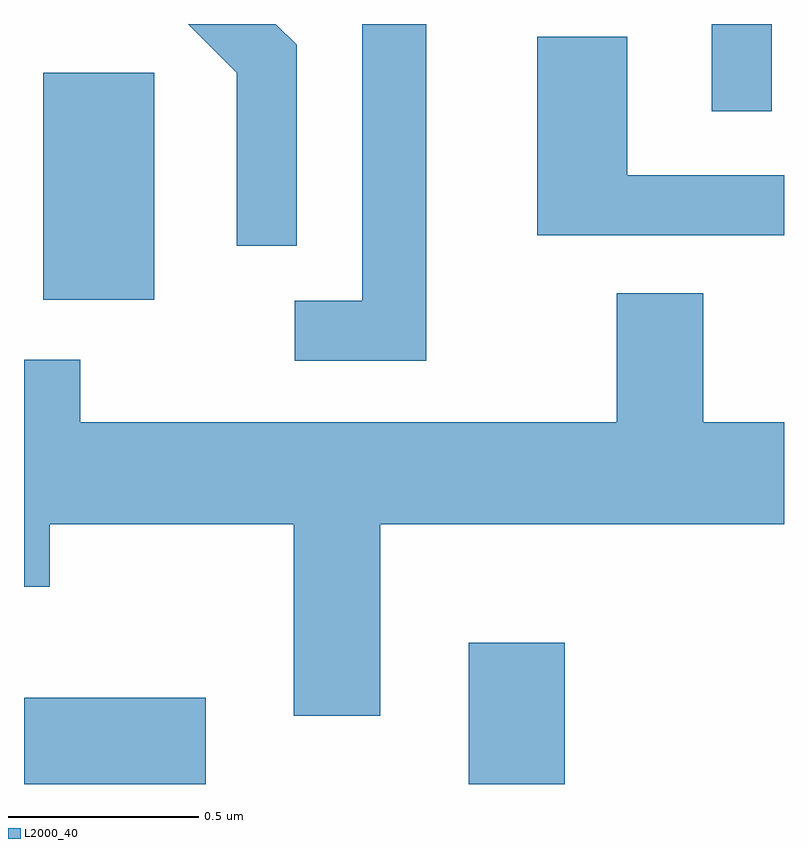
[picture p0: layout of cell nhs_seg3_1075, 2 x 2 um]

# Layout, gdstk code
import gdstk
lib = gdstk.Library(unit=1e-6, precision=1e-09)
def R(c, l, rs):  # rectangles x0, y0, x1, y1
    for r in rs: c.add(gdstk.rectangle(r[:2], r[2:], *l))
def P(c, l, *ps):  # polygons
    for p in ps: c.add(gdstk.Polygon(p, *l))
L2000_40 = (2000, 40)

nhs_seg3_1075 = lib.new_cell('nhs_seg3_1075')
R(nhs_seg3_1075, L2000_40, [(192.611,1231.892,193.089,1232.119), (193.781,1231.892,194.034,1232.264), (192.661,1233.166,192.954,1233.764), (194.421,1233.663,194.579,1233.892)])
P(nhs_seg3_1075, L2000_40, [(193.669,1233.892),(193.501,1233.892),(193.501,1233.164),(193.323,1233.164),(193.323,1233.006),(193.669,1233.006)],
  [(193.329,1233.837),(193.274,1233.892),(193.043,1233.892),(193.171,1233.764),(193.171,1233.308),(193.329,1233.308)],
  [(194.611,1233.494),(194.199,1233.494),(194.199,1233.859),(193.961,1233.859),(193.961,1233.336),(194.611,1233.336)],
  [(193.549,1232.576),(194.611,1232.576),(194.611,1232.844),(194.399,1232.844),(194.399,1233.184),(194.171,1233.184),(194.171,1232.844),(192.759,1232.844),(192.759,1233.009),(192.611,1233.009),(192.611,1232.411),(192.679,1232.411),(192.679,1232.576),(193.321,1232.576),(193.321,1232.071),(193.549,1232.071)])

lib.write_gds('nhs_seg3_1075.gds')
